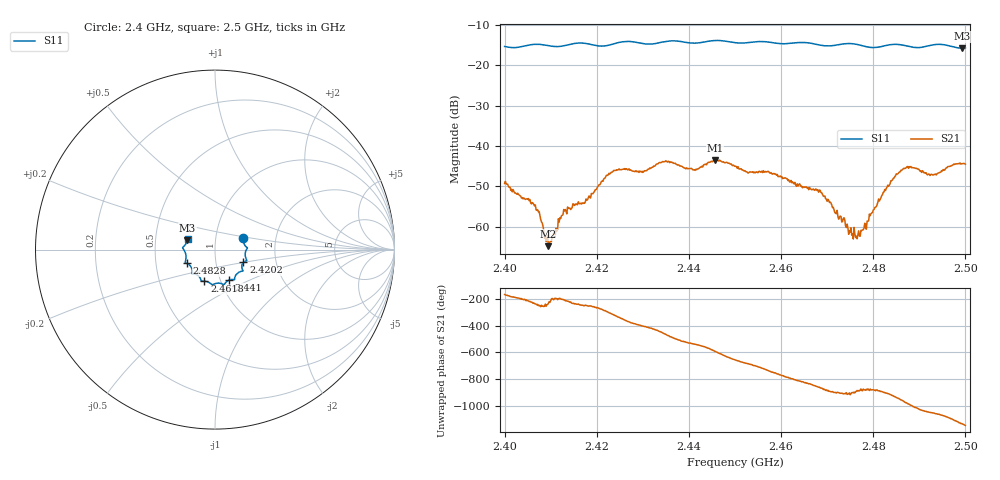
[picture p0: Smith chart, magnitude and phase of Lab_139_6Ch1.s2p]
# Hz S RI R 50
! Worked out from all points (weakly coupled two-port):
!   601 points, 2.4 GHz to 2.5 GHz, reference 50 ohm
!   highest |S21| = -43.49 dB at 2.4457 GHz (marker M1); lowest = -64.8 dB at 2.4095 GHz (marker M2)
!   lowest |S11| = -15.8 dB at 2.4993 GHz (marker M3), VSWR 1.39, Z = 36.5 + j3.85 ohm
!   |S11| at or under -10 dB: start of sweep to end of sweep
!   S12 and S22 are empty: the file has one direction only
!   S11 on the Smith chart (normalised r, x): 2.4 GHz: 1.36, +0.18; 2.4202 GHz: 1.36, -0.20; 2.441 GHz: 1.10, -0.39; 2.4618 GHz: 0.84, -0.30; 2.4828 GHz: 0.72, -0.11; 2.5 GHz: 0.73, +0.09
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2.4e9  0.1582 0.0626  -0.00336 -0.00065  0 0  0 0
2.4065e9  0.1805 0.0102  -0.000998 0.00151  0 0  0 0
2.4095e9  0.1741 -0.0022  -0.000324 0.000474  0 0  0 0
2.412833e9  0.1693 -0.0383  -0.00143 0.000783  0 0  0 0
2.416667e9  0.1775 -0.0607  -0.000745 0.00176  0 0  0 0
2.420167e9  0.1582 -0.0711  -0.000156 0.0031  0 0  0 0
2.424e9  0.1514 -0.1072  0.00413 0.00277  0 0  0 0
2.433333e9  0.1114 -0.1511  0.00109 -0.00593  0 0  0 0
2.441e9  0.0784 -0.1696  -0.00503 -0.000256  0 0  0 0
2.445667e9  0.051 -0.195  -0.0041 0.00529  0 0  0 0
2.45e9  0.0281 -0.1875  0.00234 0.00506  0 0  0 0
2.461833e9  -0.0595 -0.1756  0.0012 -0.00338  0 0  0 0
2.466667e9  -0.0787 -0.1682  -0.00139 -0.0025  0 0  0 0
2.468833e9  -0.0867 -0.1523  -0.00218 -0.00146  0 0  0 0
2.475167e9  -0.1277 -0.1335  -0.000967 9.72e-05  0 0  0 0
2.476667e9  -0.1268 -0.1268  -0.000776 -0.000184  0 0  0 0
2.482833e9  -0.1576 -0.0766  -0.00298 7.64e-05  0 0  0 0
2.483333e9  -0.1608 -0.0753  -0.00313 0.000386  0 0  0 0
2.487e9  -0.1634 -0.0599  -0.00156 0.00505  0 0  0 0
2.492833e9  -0.1773 0.00416  0.00377 0.00226  0 0  0 0
2.499333e9  -0.1539 0.0513  0.00371 -0.00475  0 0  0 0
2.5e9  -0.152 0.0609  0.0027 -0.00529  0 0  0 0
